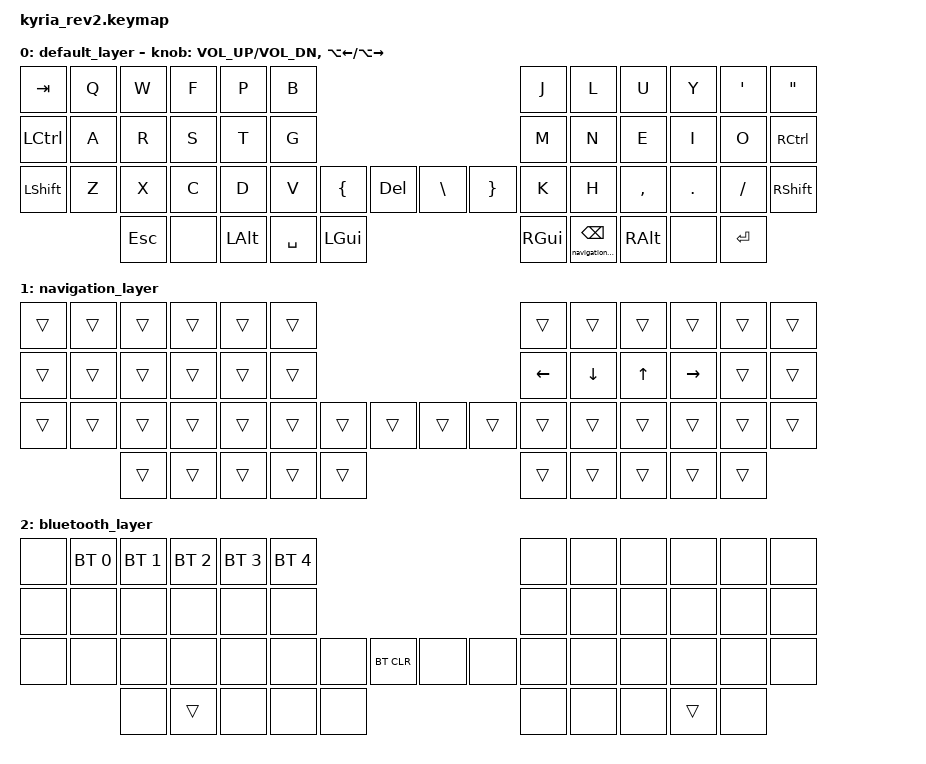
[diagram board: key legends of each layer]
/*
 * Copyright (c) 2020 The ZMK Contributors
 *
 * SPDX-License-Identifier: MIT
 */

#include <behaviors.dtsi>
#include <dt-bindings/zmk/keys.h>
#include <dt-bindings/zmk/bt.h>

#define default_layer 0
#define navigation_layer 1
#define bluetooth_layer 1

/ {
  keymap {
    compatible = "zmk,keymap";
    combos {
      compatible = "zmk,combos";
      combo_tilde { timeout-ms = <50>; key-positions = <0 1>; bindings = <&kp TILDE>; };
      combo_lt { timeout-ms = <50>; key-positions = <4 5>; bindings = <&kp LT>; };
      combo_lt { timeout-ms = <50>; key-positions = <6 7>; bindings = <&kp GT>; };
      combo_grave { timeout-ms = <50>; key-positions = <10 12>; bindings = <&kp GRAVE>; };
      combo_minus { timeout-ms = <50>; key-positions = <17 18>; bindings = <&kp MINUS>; };
      combo_plus { timeout-ms = <50>; key-positions = <19 20>; bindings = <&kp MINUS>; };
      combo_excl { timeout-ms = <50>; key-positions = <14 26>; bindings = <&kp EXCL>; };
      combo_at { timeout-ms = <50>; key-positions = <15 27>; bindings = <&kp AT>; };
      combo_pound { timeout-ms = <50>; key-positions = <16 28>; bindings = <&kp POUND>; };
      combo_dllr { timeout-ms = <50>; key-positions = <17 29>; bindings = <&kp DLLR>; };
      combo_prcnt { timeout-ms = <50>; key-positions = <18 30>; bindings = <&kp PRCNT>; };
      combo_caret { timeout-ms = <50>; key-positions = <19 35>; bindings = <&kp CARET>; };
      combo_amps { timeout-ms = <50>; key-positions = <20 36>; bindings = <&kp AMPS>; };
      combo_star { timeout-ms = <50>; key-positions = <21 37>; bindings = <&kp START>; };
      combo_semi { timeout-ms = <50>; key-positions = <22 38>; bindings = <&kp SEMI>; };
      combo_colon { timeout-ms = <50>; key-positions = <23 39>; bindings = <&kp COLON>; };
      combo_bluetooth { timeout-ms = <50>; key-positions = <42 49>; bindings = <&mo bluetooth_layer>; };
    };

// key numbers
// ,-------------------------------------------.                              ,-------------------------------------------.
// |   0   (~) 1   |  2   |  3   |  4  (<) 5   |                              |  6  (>) 7   |  8   |  9   |  10 (`)  12   |
// |--------+---1--+---2--+---3--+---4--+---5--|                              |---6--+---7--+---8--+---9--+---0--+--------|
// |   13   |  14  |  15  |  16  |  17 (-) 18  |                              |  19 (+) 20  |  21  |  22  |  23  |   24   |
// |--------+---!--+---@--+---#--+---$--+---%--+-------------.  ,-------------+---^--+---&--+---*--+---;--+---:--+--------|
// |   25   |  26  |  27  |  28  |  29 (=) 30  |  31  |  32  |  |  33  |  34  |  35 (_) 36  |  37  |  38  |  39  |   40   |
// `----------------------+------+------+------+------+------|  |------+------+------+------+------+----------------------'
//                        |  41  |  42  |  43  |  44  |  45  |  |  46  |  47  |  48  |  49  |  50  |
//                        `----------|-----------------------'  `-----------------------|----------'
//                                   +----------------- bluetooth layer ----------------+
// base
// ,-------------------------------------------.                              ,-------------------------------------------.
// |  tab  (~)  Q  |   W  |   F  |   P (<)  B  |                              |   J (>)  L  |   U  |   Y  |   ' (`)  "    |
// |--------+---1--+---2--+---3--+---4--+---5--|                              |---6--+---7--+---8--+---9--+---0--+--------|
// | Ctrl ( |   A  |   R  |   S  |   T (=)  G  |                              |   M (_)  N  |   E  |   I  |   O  | Ctrl ) |
// |--------+---!--+---@--+---#--+---$--+---%--+-------------.  ,-------------+---^--+---&--+---*--+---;--+---:--+--------|
// | Shft [ |   Z  |   X  |   C  |   D (-)  V  |   {  | Del  |  |   \  |  }   |   K (+)  H  |   ,  |   .  |   /  | Shft ] |
// `----------------------+------+------+------+------+------|  |------+------+------+------+------+----------------------'
//                        | ESC  |      | Alt  |Space |  Gui |  | Gui  | Bspc | Alt  |      |  Ent |
//                        |      |   ^  |      |      |      |  |      |  Nav |      |  ^   |      |
//                        `----------|-----------------------'  `-----------------------|----------'
//                        - vol +    +----------------- bluetooth layer ----------------+   <-alt->

// navigation
// ,-------------------------------------------.                              ,-------------------------------------------.
// |        |      |      |      |      |      |                              |      |      |      |      |      |        |
// |--------+------+------+------+------+------|                              |------+------+------+------+------+--------|
// |        |      |      |      |      |      |                              | Left | Down | Up   | Right|      |        |
// |--------+------+------+------+------+------+-------------.  ,-------------+------+------+------+------+------+--------|
// |        |      |      |      |      |      |      |      |  |      |      |      |      |      |      |      |        |
// `----------------------+------+------+------+------+------|  |------+------+------+------+------+----------------------'
//                        |      |      |      |      |      |  |      |      |      |      |      |
//                        |      |      |      |      |      |  |      |      |      |      |      |
//                        `----------------------------------'  `----------------------------------'
//
// bluetooth
// ,-------------------------------------------.                              ,-------------------------------------------.
// |        |  1   |  2   |  3   |  4   |  5   |                              |      |      |      |      |      |        |
// |--------+------+------+------+------+------|                              |------+------+------+------+------+--------|
// |        |      |      |      |      |      |                              |      |      |      |      |      |        |
// |--------+------+------+------+------+------+-------------.  ,-------------+------+------+------+------+------+--------|
// |        |      |      |      |      |      |      | Clr  |  |      |      |      |      |      |      |      |        |
// `----------------------+------+------+------+------+------|  |------+------+------+------+------+----------------------'
//                        |      |      |      |      |      |  |      |      |      |      |      |
//                        |      |      |      |      |      |  |      |      |      |      |      |
//                        `----------------------------------'  `----------------------------------'

    default_layer {
      bindings = <
  &kp TAB   &kp Q &kp W &kp F &kp P &kp B                                                &kp J &kp L  &kp U     &kp Y   &kp SQT  &kp DQT
  &kp LCTRL &kp A &kp R &kp S &kp T &kp G                                                &kp M &kp N  &kp E     &kp I   &kp O    &kp RCTRL
  &kp LSHFT &kp Z &kp X &kp C &kp D &kp V   &kp LBRC  &kp DEL        &kp BSLH &kp RBRC   &kp K &kp H  &kp COMMA &kp DOT &kp FSLH &kp RSHFT
                   &kp ESC  &none  &kp LALT &kp SPACE &kp LGUI       &kp RGUI &lt navigation_layer BSPC   &kp RALT &none &kp RET

      >;

      sensor-bindings = <&inc_dec_kp C_VOL_UP C_VOL_DN &inc_dec_kp LA(LEFT) LA(RIGHT)>;
    };
    navigation_layer {
      bindings = <
  &trans   &trans &trans &trans &trans &trans                                            &trans   &trans   &trans &trans    &trans  &trans
  &trans   &trans &trans &trans &trans &trans                                            &kp LEFT &kp DOWN &kp UP &kp RIGHT &trans  &trans
  &trans   &trans &trans &trans &trans &trans   &trans  &trans       &trans   &trans     &trans   &trans   &trans &trans    &trans  &trans
                          &trans  &trans  &trans &trans &trans       &trans   &trans     &trans &trans &trans

      >;
    };
    bluetooth_layer {
      bindings = <
  &none   &bt BT_SEL 0 &bt BT_SEL 1 &bt BT_SEL 2 &bt BT_SEL 3 &bt BT_SEL 4                                            &none   &none   &none &none    &none  &none
  &none   &none &none &none &none &none                                            &none &none &none &none &none  &none
  &none   &none &none &none &none &none   &none  &bt BT_CLR       &none   &none     &none   &none   &none &none    &none  &none
                          &none  &trans  &none &none &none       &none   &none     &none &trans &none

      >;
    };
  };
};

// original keymap (for reference)
//  &kp ESC   &kp Q &kp W &kp E &kp R &kp T                                                &kp Y &kp U  &kp I     &kp O   &kp P    &kp BSLH
//  &kp TAB   &kp A &kp S &kp D &kp F &kp G                                                &kp H &kp J  &kp K     &kp L   &kp SEMI &kp SQT
//  &kp LSHFT &kp Z &kp X &kp C &kp V &kp B &kp LSHFT &kp LSHFT        &kp LSHFT &kp LSHFT &kp N &kp M  &kp COMMA &kp DOT &kp FSLH &kp RCTRL
//                  &kp LGUI &kp DEL &kp RET &kp SPACE &kp ESC        &kp RET  &kp SPACE  &kp TAB &kp BSPC &kp RALT

